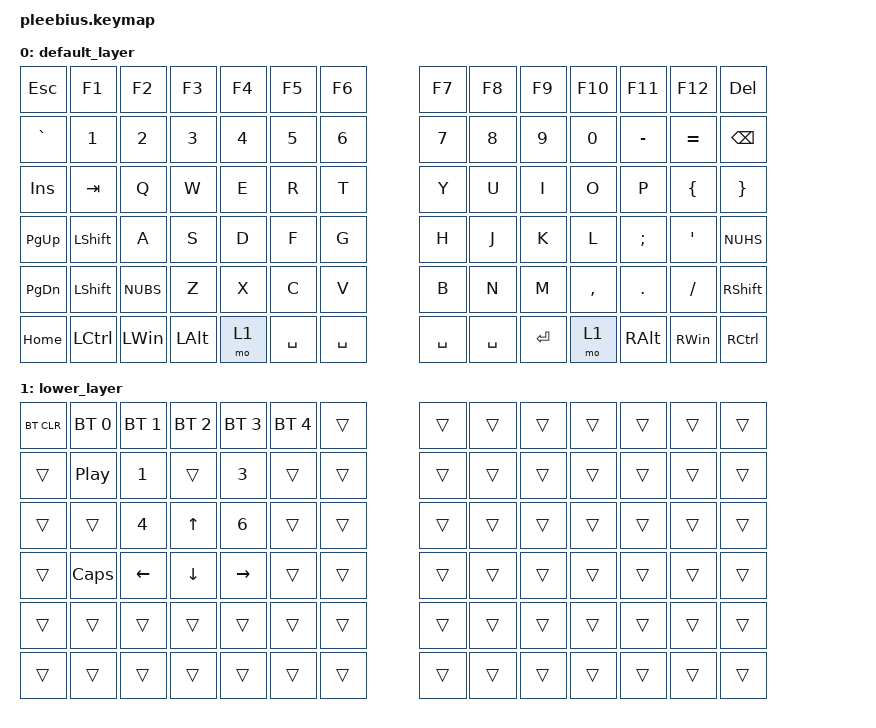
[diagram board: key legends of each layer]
/*
 * Copyright (c) 2020 The ZMK Contributors
 *
 * SPDX-License-Identifier: MIT
 */

#include <behaviors.dtsi>
#include <dt-bindings/zmk/keys.h>
#include <dt-bindings/zmk/bt.h>

/ {
        keymap {
                compatible = "zmk,keymap";

                default_layer {
// ---------------------------------------------------------------------------------
// | ESC |  f1 |  f2 |  f3 |  f4 |  f5 |  f6 |     |  f7 |  f8 |  f9 | f10 | f11 | f12 | del |
// |GRAVE|  1  |  2  |  3  |  4  |  5  |  6  |     |  7  |  8  |  9  |  0  |  -  |  =  |BSPC |
// | INS | TAB |  Q  |  W  |  E  |  R  |  T  |     |  Y  |  U  |  I  |  O  |  P  |LBRC |RBRC |
// |PGUP |CAPSL|  A  |  S  |  D  |  F  |  G  |     |  H  |  J  |  K  |  L  |  ;  |  @  |  #  |
// |PGDW |SHFT | BKSL|  Z  |  X  |  C  |  V  |     |  B  |  N  |  M  |  ,  |  .  |  /  |SHFT |
// |HOME |CTRL | WIN | ALT | FUN | SPC | SPC |     | SPC | SPC | ENT | FUN | ALT | WIN |CRTL | 
                        bindings = <
   &kp ESC    &kp F1    &kp F2    &kp F3     &kp F4     &kp F5     &kp F6               &kp F7     &kp F8     &kp F9     &kp F10    &kp F11    &kp F12     &kp DEL
   &kp GRAVE  &kp N1    &kp N2    &kp N3     &kp N4     &kp N5     &kp N6               &kp N7     &kp N8     &kp N9     &kp N0     &kp MINUS  &kp EQUAL   &kp BSPC
   &kp INSERT &kp TAB   &kp Q     &kp W      &kp E      &kp R      &kp T                &kp Y      &kp U      &kp I      &kp O      &kp P      &kp LBRC    &kp RBRC
   &kp PG_UP  &kp LSHFT  &kp A     &kp S      &kp D      &kp F      &kp G                &kp H      &kp J      &kp K      &kp L      &kp SEMI   &kp APOS    &kp NUHS
   &kp PG_DN  &kp LSHFT &kp NUBS  &kp Z      &kp X      &kp C      &kp V                &kp B      &kp N      &kp M      &kp COMMA  &kp DOT    &kp SLASH   &kp RSHFT
   &kp HOME   &kp LCTRL &kp LWIN  &kp LALT   &mo 1      &kp SPACE  &kp SPACE            &kp SPACE  &kp SPACE  &kp ENTER  &mo 1      &kp RALT   &kp RWIN    &kp RCTRL
                        >;
                };
                lower_layer {
// ------------------------------------------------------------------------------------------------------------
// | BT_CLR|  BT1  |  BT2  |  BT3  |  BT4  |  BT5  |     |          |       |       |       |       |       |      |      |
// |       |  PLAY |   1   |       |  3    |       |     |          |       |       |       |       |       |      |      |
// |       |       |   4   | UARW  |  6    |       |     |          |       |       |       |       |       |      |      |
// |       |       | LARW  | DARW  | RARW  |       |     |          |       |       |       |       |       |      |      |
// |       |       |       |       |       |       |     |          |       |       |       |       |       |      |      |
// |       |       |       |       |       |       |     |          |       |       |       |       |       |      |      |
                        bindings = <
   &bt BT_CLR  &bt BT_SEL 0   &bt BT_SEL 1   &bt BT_SEL 2   &bt BT_SEL 3   &bt BT_SEL 4   &trans          &trans    &trans   &trans   &trans  &trans  &trans  &trans
   &trans      &kp C_PP       &kp N1         &trans         &kp N3         &trans         &trans          &trans    &trans   &trans   &trans  &trans  &trans  &trans
   &trans      &trans         &kp N4         &kp UP         &kp N6         &trans         &trans          &trans    &trans   &trans   &trans  &trans  &trans  &trans
   &trans      &kp CAPS       &kp LEFT       &kp DOWN       &kp RIGHT      &trans         &trans          &trans    &trans   &trans   &trans  &trans  &trans  &trans
   &trans      &trans         &trans         &trans         &trans         &trans         &trans          &trans    &trans   &trans   &trans  &trans  &trans  &trans
   &trans      &trans         &trans         &trans         &trans         &trans         &trans          &trans    &trans   &trans   &trans  &trans  &trans  &trans
                        >;
                };
        };
};
